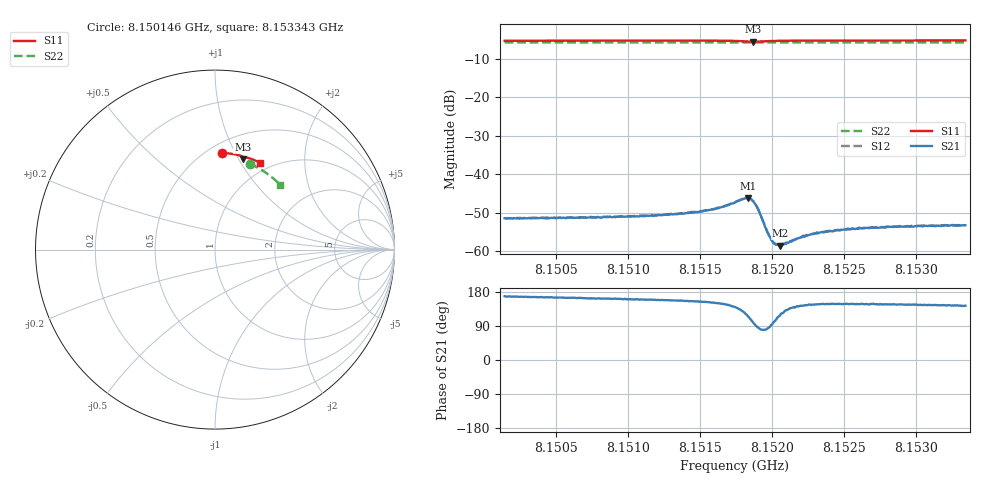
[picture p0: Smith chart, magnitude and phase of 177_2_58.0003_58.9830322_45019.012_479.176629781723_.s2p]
#  HZ  S  RI  R  50.00
! Rohde & Schwarz Vector Network Analyzer
! Rohde-Schwarz,ZNB20-2Port,1311601062101988,3.16
! Created: UTC 3/21/2024, 12:58:10 AM
! freq[Hz]  re:S11  im:S11  re:S21  im:S21  re:S12  im:S12  re:S22  im:S22
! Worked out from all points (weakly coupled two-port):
!   401 points, 8.150146 GHz to 8.153343 GHz, reference 50 ohm
!   highest |S21| = -46.22 dB at 8.151832 GHz (marker M1); lowest = -58.5 dB at 8.152056 GHz (marker M2)
!   lowest |S11| = -5.6 dB at 8.151872 GHz (marker M3), VSWR 3.21, Z = 37.4 + j51.9 ohm
!   |S11| at or under -10 dB: nowhere
!   |S22| runs from -5.8 to -5.8 dB; largest |S21 - S12| = 0.00012
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8.1501457e9  0.0415 0.5391  -0.00262 0.000546  -0.00264 0.000602  0.1953 0.4772
8.1506813e9  0.0791 0.5357  -0.00264 0.000765  -0.00263 0.000806  0.2267 0.4626
8.1512168e9  0.1168 0.5295  -0.00274 0.00109  -0.00274 0.00113  0.257 0.4457
8.1515045e9  0.1377 0.5243  -0.00291 0.00142  -0.00294 0.00148  0.2725 0.4358
8.1516164e9  0.1465 0.5212  -0.00313 0.00179  -0.00312 0.00184  0.2787 0.4315
8.1517443e9  0.157 0.5145  -0.00329 0.00277  -0.00323 0.00285  0.2854 0.4269
8.1518003e9  0.1599 0.5087  -0.00292 0.00376  -0.00288 0.00386  0.2881 0.4245
8.1518323e9  0.1591 0.5044  -0.00217 0.00438  -0.00208 0.00445  0.2897 0.4234
8.1518562e9  0.1566 0.5025  -0.00128 0.00455  -0.00121 0.00458  0.2909 0.4225
8.1518722e9  0.1544 0.5022  -0.000593 0.00438  -0.000564 0.0044  0.2914 0.4219
8.1519042e9  0.1514 0.505  0.00029 0.0035  0.000338 0.00353  0.2928 0.4209
8.1519681e9  0.1543 0.5121  0.000227 0.00177  0.000227 0.00178  0.2963 0.4188
8.1520001e9  0.1574 0.5138  -8.36e-05 0.00137  -4.37e-05 0.00137  0.2982 0.4178
8.1520321e9  0.1608 0.5146  -0.00038 0.00116  -0.000379 0.00115  0.2998 0.4166
8.1520561e9  0.1631 0.5148  -0.000547 0.00105  -0.000555 0.00105  0.3011 0.4157
8.152096e9  0.1668 0.5147  -0.000839 0.00097  -0.000806 0.000964  0.3031 0.4141
8.1522079e9  0.1763 0.5132  -0.00121 0.000911  -0.00121 0.00094  0.3088 0.4096
8.1522799e9  0.1817 0.5116  -0.00138 0.000935  -0.00138 0.000959  0.3125 0.4068
8.1524077e9  0.191 0.5091  -0.00155 0.000978  -0.00154 0.000999  0.3189 0.4015
8.1525436e9  0.2004 0.5057  -0.00164 0.00104  -0.00165 0.00102  0.3256 0.396
8.1528154e9  0.2186 0.4988  -0.00173 0.00114  -0.00173 0.00115  0.3387 0.3845
8.1533429e9  0.2521 0.4836  -0.00174 0.0013  -0.00175 0.0013  0.3626 0.3608
